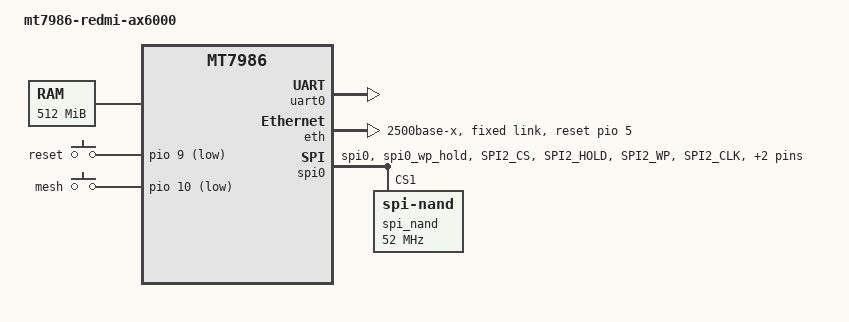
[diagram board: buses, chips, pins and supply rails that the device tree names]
// SPDX-License-Identifier: GPL-2.0

/dts-v1/;
#include "mt7986.dtsi"
#include <dt-bindings/gpio/gpio.h>

/ {
	#address-cells = <1>;
	#size-cells = <1>;
	model = "mt7986-redmi-ax6000";
	compatible = "mediatek,mt7986", "mediatek,mt7986-rfb", "mt7986-redmi-ax6000";

	chosen {
		stdout-path = &uart0;
		tick-timer = &timer0;
	};

	config {
		bootcmd = "mtkboardboot";
	};

	memory@40000000 {
		device_type = "memory";
		reg = <0x40000000 0x20000000>;
	};

	mtd-layout {
		layout@0 {
			label = "default";
			// mtd layout for xiaomi stock ubi or openwrt-stock/immortalwrt-stock firmware
			cmdline = "console=ttyS0,115200n1 loglevel=8 firmware=0 uart_en=1";
			mtdids = "nmbm0=nmbm0";
			mtdparts = "nmbm0:1024k(bl2),256k(Nvram),256k(Bdata),2048k(factory),2048k(fip),256k(crash),256k(crash_log),30720k(ubi_kernel),81920k(ubi)";
			boot_part = "ubi_kernel"; // ubi boot part, default is "ubi"
			factory_part = "ubi_kernel"; // factory firmware write part, default is "ubi"
			sysupgrade_kernel_ubipart = "ubi_kernel"; // sysupgrade kernel write part (ubi volume: kernel), default is "ubi"
			sysupgrade_rootfs_ubipart = "ubi"; // sysupgrade rootfs write part (ubi volume: rootfs, rootfs_data)
		};

		layout@1 {
			label = "immortalwrt-110m";
			// mtd layout for immortalwrt/openwrt 110M ubi firmware
			mtdids = "nmbm0=nmbm0";
			mtdparts = "nmbm0:1024k(bl2),256k(Nvram),256k(Bdata),2048k(factory),2048k(fip),256k(crash),256k(crash_log),110m(ubi)";
		};
	};

	gpio-keys {
		compatible = "gpio-keys";

		reset-button {
			label = "reset";
			linux,code = <KEY_RESTART>;
			gpios = <&pio 9 GPIO_ACTIVE_LOW>;
		};

		mesh-button {
			label = "mesh";
			linux,code = <BTN_9>;
			gpios = <&pio 10 GPIO_ACTIVE_LOW>;
		};
	};

	bl2_verify {
		bl2_compatible = "spim-nand";
	};
};

&uart0 {
	status = "okay";
};

&eth {
	status = "okay";
	mediatek,gmac-id = <0>;
	phy-mode = "2500base-x";
	mediatek,switch = "auto";
	reset-gpios = <&pio 5 GPIO_ACTIVE_HIGH>;

	fixed-link {
		speed = <2500>;
		full-duplex;
	};
};

&pio {
	spi_flash_pins: spi0-pins-func-1 {
		mux {
			function = "flash";
			groups = "spi0", "spi0_wp_hold";
		};

		conf-pu {
			pins = "SPI2_CS", "SPI2_HOLD", "SPI2_WP";
			drive-strength = <MTK_DRIVE_4mA>;
			bias-pull-up = <MTK_PUPD_SET_R1R0_11>;
		};

		conf-pd {
			pins = "SPI2_CLK", "SPI2_MOSI", "SPI2_MISO";
			drive-strength = <MTK_DRIVE_4mA>;
			bias-pull-down = <MTK_PUPD_SET_R1R0_11>;
		};
	};
};

&spi0 {
	#address-cells = <1>;
	#size-cells = <0>;
	pinctrl-names = "default";
	pinctrl-0 = <&spi_flash_pins>;
	status = "okay";
	must_tx;
	enhance_timing;
	dma_ext;
	ipm_design;
	support_quad;
	tick_dly = <2>;
	sample_sel = <0>;

	spi_nand@0 {
		compatible = "spi-nand";
		reg = <1>;
		spi-max-frequency = <52000000>;
	};
};

&watchdog {
	status = "disabled";
};
